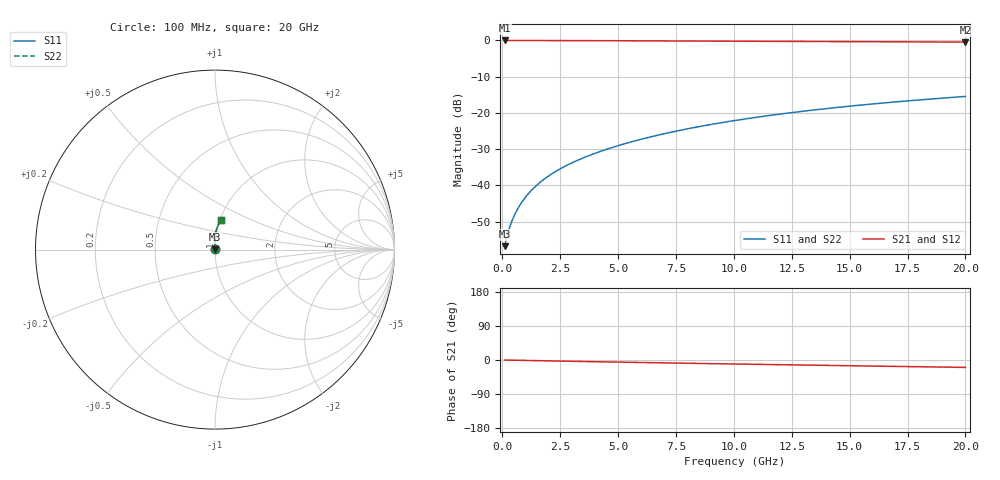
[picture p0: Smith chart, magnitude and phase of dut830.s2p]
! Touchstone file exported from HFSS 2024.1.0
!  File:  C:/UserFiles/LocalFiles/RDL_TSV_Batchsim/temp_RDL_top_830_1779854891.aedt
!  Generated:  12:10:22 PM May 27, 2026
!  Design:  RDL_top
!  Project:  temp_RDL_top_830_1779854891
!  Setup:  Setup1
!  Solution:  Sweep
! Variables:
!  dtsv = 10.80580581um
!  hbump = 3um
!  htsv = 75.63um
!  ldown = 100um
!  lrdl = 291.24um
!  p = 40
!  p1 = 42.58um
!  rhole = 1um
!  t = 450um
!  tdown = 3.915915916um
!  trdl = 4.14um
!  wdown = 15.38538539um
!  wrdl = 24.48um
# GHz S MA R 50.000000
! Terminal data exported
! Port[1] = Box2_T1
! Port[2] = Box2_T2
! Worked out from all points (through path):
!   200 points, 100 MHz to 20 GHz, reference 50 ohm
!   highest |S21| = -0.01 dB at 100 MHz (marker M1); lowest = -0.5 dB at 20 GHz (marker M2)
!   group delay of S21, straight-line fit = 2.68 ps
!   lowest |S11| = -56.7 dB at 100 MHz (marker M3), VSWR 1.00, Z = 50.1 + j0.079 ohm
!   |S11| at or under -10 dB: start of sweep to end of sweep
!   |S22| runs from -56.7 to -15.5 dB; largest |S21 - S12| = 2.7e-15
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0.1  0.001455 32.8  0.9988 -0.1  0.9988 -0.1  0.001455 32.8
! Gamma 0 0 0 0
! Port Impedance 50 0 50 0
0.2  0.001991 48.8  0.9987 -0.2  0.9987 -0.2  0.001991 48.8
0.3  0.002561 57.5  0.9986 -0.4  0.9986 -0.4  0.002561 57.5
0.4  0.003143 63.4  0.9985 -0.5  0.9985 -0.5  0.003144 63.4
0.5  0.00374 67.6  0.9984 -0.6  0.9984 -0.6  0.00374 67.6
0.6  0.00435 70.8  0.9983 -0.7  0.9983 -0.7  0.00435 70.8
0.8  0.005601 75.3  0.9982 -0.9  0.9982 -0.9  0.005601 75.3
1  0.00688 78.3  0.998 -1.2  0.998 -1.2  0.00688 78.3
1.2  0.008179 80.5  0.9978 -1.4  0.9978 -1.4  0.008179 80.5
1.4  0.009493 82.2  0.9976 -1.6  0.9976 -1.6  0.009493 82.2
1.7  0.01149 84.0  0.9972 -2.0  0.9972 -2.0  0.01149 84.0
2.2  0.01487 86.2  0.9964 -2.5  0.9964 -2.5  0.01487 86.2
2.8  0.01903 87.9  0.9953 -3.2  0.9953 -3.2  0.01903 87.9
3.5  0.02403 89.3  0.9937 -4.0  0.9937 -4.0  0.02403 89.3
4.2  0.02922 90.2  0.9919 -4.8  0.9919 -4.8  0.02922 90.2
5  0.03538 90.8  0.9897 -5.6  0.9897 -5.6  0.03538 90.8
6.8  0.05008 91.2  0.9843 -7.4  0.9843 -7.4  0.05009 91.2
8.4  0.06393 90.5  0.9794 -9.0  0.9794 -9.0  0.06393 90.5
10.1  0.07916 89.3  0.9743 -10.6  0.9743 -10.6  0.07917 89.3
13.4  0.1094 86.1  0.965 -13.7  0.965 -13.7  0.1094 86.1
16.7  0.1395 82.4  0.9563 -16.7  0.9563 -16.7  0.1395 82.5
20  0.1688 78.8  0.9479 -19.6  0.9479 -19.6  0.1688 78.8
